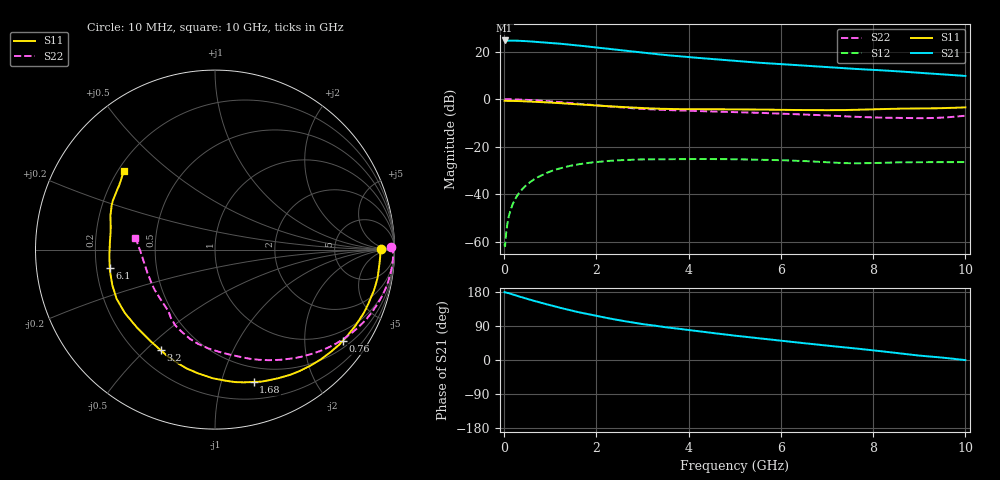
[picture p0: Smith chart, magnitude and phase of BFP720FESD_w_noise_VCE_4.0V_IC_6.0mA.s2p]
! Infineon Technologies  Discrete & RF Semiconductors
! BFP720FESD
! VCE =  4.0 V,  IC =  6.0 mA
! Common Emitter S-Parameters:  Jan 2016
# GHz  S  MA  R  50
!  f  S11  S21  S12  S22
! GHz  MAG  ANG  MAG  ANG  MAG  ANG  MAG  ANG
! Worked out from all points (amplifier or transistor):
!   233 points, 10 MHz to 10 GHz, reference 50 ohm
!   highest |S21| = 24.7 dB at 10 MHz (marker M1)
!   |S21| within 3 dB of that: start of sweep to 2.015 GHz
!   unconditionally stable (mu >= 1): 6.928 GHz to end of sweep
!   at 200 MHz: K = 0.09, MSG = 34.1 dB, |S12| = -43.6 dB
!   at 1.74 GHz: K = 0.22, MSG = 24.7 dB, |S12| = -27.1 dB
!   at 10 GHz: K = 1.42, MAG = 14.3 dB, |S12| = -26.5 dB
!   lowest NFmin = 0.55 dB at 450 MHz
!   S11 on the Smith chart (normalised r, x): 10 MHz: 25, +1; 760 MHz: 0.69, -2.97; 1.68 GHz: 0.35, -1.27; 3.2 GHz: 0.30, -0.56; 6.1 GHz: 0.26, -0.08; 10 GHz: 0.22, +0.36
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0.01  0.9239 0.2  17.25 179.0  0.0009 41.5  0.9826 1.0
0.02  0.922 -1.0  17.14 178.8  0.0008 50.4  0.9917 -0.6
0.05  0.9214 -2.3  17.04 177.6  0.0017 69.8  0.9929 -1.4
0.12  0.9191 -5.9  17.11 175.5  0.004 78.6  0.9922 -3.7
0.34  0.9103 -16.3  16.94 167.2  0.011 77.5  0.9807 -10.7
0.58  0.8914 -27.5  16.44 158.4  0.0184 71.5  0.9568 -17.9
0.76  0.8744 -35.6  15.99 152.4  0.0236 66.9  0.9343 -23.2
0.9  0.8597 -41.9  15.64 147.7  0.0274 63.3  0.9154 -27.2
1.2  0.8255 -54.8  14.79 138.2  0.0347 55.8  0.8678 -35.6
1.4  0.801 -63.0  14.15 132.2  0.0388 51.0  0.834 -40.9
1.68  0.7687 -73.7  13.28 124.4  0.0434 44.8  0.7884 -47.7
2.02  0.7337 -85.1  12.2 115.8  0.0477 38.2  0.7379 -55.4
2.4  0.6977 -97.2  11.13 107.0  0.0512 31.8  0.688 -63.6
2.82  0.6623 -109.4  10.01 98.2  0.0533 25.4  0.6403 -71.9
3.2  0.6368 -118.4  9.125 91.7  0.054 21.1  0.6097 -77.6
3.4  0.6272 -122.8  8.701 88.3  0.0543 19.3  0.5973 -80.4
4.1  0.6131 -136.9  7.552 77.6  0.0547 13.9  0.5664 -88.7
5.1  0.6107 -154.8  6.29 63.0  0.054 7.4  0.5304 -101.1
6.1  0.595 -170.1  5.395 49.7  0.0514 2.7  0.4928 -112.5
6.8  0.5869 178.9  4.878 40.5  0.048 1.1  0.4631 -120.5
8.4  0.6262 156.9  3.935 20.0  0.0464 8.0  0.4046 -145.6
10  0.6716 139.2  3.086 -0.3  0.0473 9.0  0.448 171.5
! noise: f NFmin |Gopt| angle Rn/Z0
0.45  0.55  0.51  3  0.14
2.4  0.67  0.32  30  0.15
5.5  0.83  0.37  108  0.1
10  1.36  0.31  -161  0.09
